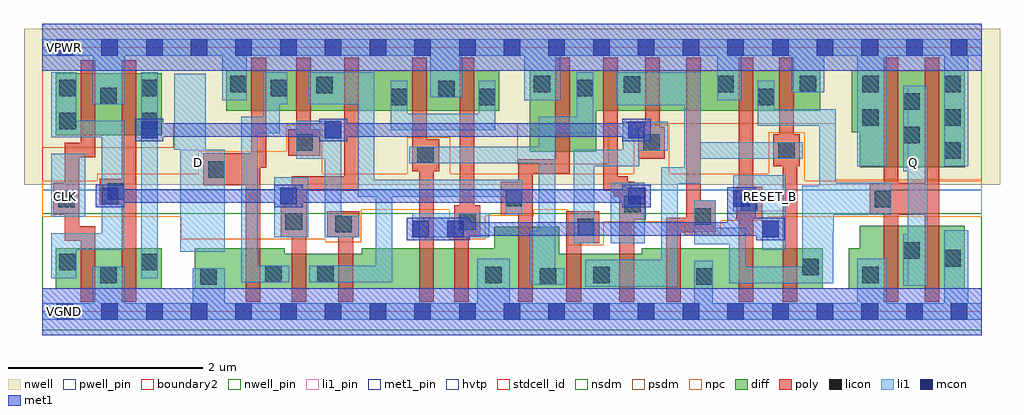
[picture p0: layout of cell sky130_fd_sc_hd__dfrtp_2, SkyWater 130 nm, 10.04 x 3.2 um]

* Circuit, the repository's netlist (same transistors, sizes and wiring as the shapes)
* Copyright 2020 The SkyWater PDK Authors
*
* Licensed under the Apache License, Version 2.0 (the "License");
* you may not use this file except in compliance with the License.
* You may obtain a copy of the License at
*
*     https://www.apache.org/licenses/LICENSE-2.0
*
* Unless required by applicable law or agreed to in writing, software
* distributed under the License is distributed on an "AS IS" BASIS,
* WITHOUT WARRANTIES OR CONDITIONS OF ANY KIND, either express or implied.
* See the License for the specific language governing permissions and
* limitations under the License.
*
* SPDX-License-Identifier: Apache-2.0


.subckt sky130_fd_sc_hd__dfrtp_2 CLK D RESET_B VGND VNB VPB VPWR Q
X0 a_1270_413# a_1283_21# VPWR VPB sky130_fd_pr__pfet_01v8_hvt w=420000u l=150000u
X1 Q a_1283_21# VGND VNB sky130_fd_pr__nfet_01v8 w=650000u l=150000u
X2 VPWR a_543_47# a_761_289# VPB sky130_fd_pr__pfet_01v8_hvt w=840000u l=150000u
X3 VGND a_543_47# a_761_289# VNB sky130_fd_pr__nfet_01v8 w=640000u l=150000u
X4 VGND D a_448_47# VNB sky130_fd_pr__nfet_01v8 w=420000u l=150000u
X5 a_1108_47# a_193_47# a_1270_413# VPB sky130_fd_pr__pfet_01v8_hvt w=420000u l=150000u
X6 VGND a_1283_21# Q VNB sky130_fd_pr__nfet_01v8 w=650000u l=150000u
X7 a_1217_47# a_1283_21# VGND VNB sky130_fd_pr__nfet_01v8 w=420000u l=150000u
X8 a_448_47# a_27_47# a_543_47# VNB sky130_fd_pr__nfet_01v8 w=360000u l=150000u
X9 a_448_47# a_193_47# a_543_47# VPB sky130_fd_pr__pfet_01v8_hvt w=420000u l=150000u
X10 a_543_47# a_193_47# a_639_47# VNB sky130_fd_pr__nfet_01v8 w=360000u l=150000u
X11 a_1108_47# a_27_47# a_1217_47# VNB sky130_fd_pr__nfet_01v8 w=360000u l=150000u
X12 a_1462_47# a_1108_47# a_1283_21# VNB sky130_fd_pr__nfet_01v8 w=420000u l=150000u
X13 a_543_47# a_27_47# a_651_413# VPB sky130_fd_pr__pfet_01v8_hvt w=420000u l=150000u
X14 a_805_47# RESET_B VGND VNB sky130_fd_pr__nfet_01v8 w=420000u l=150000u
X15 Q a_1283_21# VPWR VPB sky130_fd_pr__pfet_01v8_hvt w=1 l=150000u
X16 a_761_289# a_193_47# a_1108_47# VNB sky130_fd_pr__nfet_01v8 w=360000u l=150000u
X17 VPWR RESET_B a_651_413# VPB sky130_fd_pr__pfet_01v8_hvt w=420000u l=150000u
X18 VGND a_27_47# a_193_47# VNB sky130_fd_pr__nfet_01v8 w=420000u l=150000u
X19 a_27_47# CLK VGND VNB sky130_fd_pr__nfet_01v8 w=420000u l=150000u
X20 a_27_47# CLK VPWR VPB sky130_fd_pr__pfet_01v8_hvt w=640000u l=150000u
X21 VPWR a_1283_21# Q VPB sky130_fd_pr__pfet_01v8_hvt w=1 l=150000u
X22 VPWR a_27_47# a_193_47# VPB sky130_fd_pr__pfet_01v8_hvt w=640000u l=150000u
X23 a_1283_21# a_1108_47# VPWR VPB sky130_fd_pr__pfet_01v8_hvt w=420000u l=150000u
X24 VGND RESET_B a_1462_47# VNB sky130_fd_pr__nfet_01v8 w=420000u l=150000u
X25 VPWR D a_448_47# VPB sky130_fd_pr__pfet_01v8_hvt w=420000u l=150000u
X26 a_651_413# a_761_289# VPWR VPB sky130_fd_pr__pfet_01v8_hvt w=420000u l=150000u
X27 a_761_289# a_27_47# a_1108_47# VPB sky130_fd_pr__pfet_01v8_hvt w=420000u l=150000u
X28 VPWR RESET_B a_1283_21# VPB sky130_fd_pr__pfet_01v8_hvt w=420000u l=150000u
X29 a_639_47# a_761_289# a_805_47# VNB sky130_fd_pr__nfet_01v8 w=420000u l=150000u
.ends

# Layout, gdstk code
import gdstk
lib = gdstk.Library(unit=1e-6, precision=1e-09)
def R(c, l, rs):  # rectangles x0, y0, x1, y1
    for r in rs: c.add(gdstk.rectangle(r[:2], r[2:], *l))
def A(c, l, x, y, w, h, nx, ny, dx, dy):  # array of equal rectangles
    R(c, l, [(x+i*dx, y+j*dy, x+i*dx+w, y+j*dy+h) for i in range(nx) for j in range(ny)])
def P(c, l, *ps):  # polygons
    for p in ps: c.add(gdstk.Polygon(p, *l))
nwell_pin = (64, 16)
nwell = (64, 20)
diff = (65, 20)
poly = (66, 20)
licon = (66, 44)
li1_pin = (67, 16)
li1 = (67, 20)
mcon = (67, 44)
met1_pin = (68, 16)
met1 = (68, 20)
hvtp = (78, 44)
stdcell_id = (81, 4)
nsdm = (93, 44)
psdm = (94, 20)
npc = (95, 20)
pwell_pin = (122, 16)
boundary2 = (236, 0)

sky130_fd_sc_hd__dfrtp_2 = lib.new_cell('sky130_fd_sc_hd__dfrtp_2')
R(sky130_fd_sc_hd__dfrtp_2, nwell_pin, [(0.145,2.635,0.315,2.805)])
R(sky130_fd_sc_hd__dfrtp_2, nwell, [(-0.19,1.305,9.85,2.91)])
R(sky130_fd_sc_hd__dfrtp_2, diff, [(0.135,0.235,1.225,0.655), (0.135,1.815,1.225,2.455), (3.305,2.065,4.7,2.485)])
P(sky130_fd_sc_hd__dfrtp_2, diff, [(5.015,1.645),(5.015,2.485),(8,2.485),(8,2.065),(5.695,2.065),(5.695,1.645)],
  [(8.405,1.485),(8.405,1.845),(8.325,1.845),(8.325,2.485),(9.485,2.485),(9.485,1.485)],
  [(8.295,0.235),(8.295,0.655),(8.405,0.655),(8.405,0.885),(9.485,0.885),(9.485,0.235)],
  [(1.565,0.235),(1.565,0.655),(2.49,0.655),(2.49,0.595),(3.285,0.595),(3.285,0.655),(4.645,0.655),(4.645,0.875),(5.315,0.875),(5.315,0.595),(6.165,0.595),(6.165,0.655),(8.025,0.655),(8.025,0.235)],
  [(1.89,2.065),(1.89,2.485),(3.335,2.485),(3.335,2.48),(3.33,2.48),(3.33,2.065)])
R(sky130_fd_sc_hd__dfrtp_2, poly, [(3.875,0.105,4.025,1.515), (4.29,1.055,4.44,2.615), (3.805,1.445,4.08,1.775), (3.805,1.76,3.955,2.615)])
P(sky130_fd_sc_hd__dfrtp_2, poly, [(7.615,0.105),(7.615,1.495),(7.52,1.495),(7.52,1.825),(7.58,1.825),(7.58,2.615),(7.73,2.615),(7.73,1.825),(7.79,1.825),(7.79,1.495),(7.765,1.495),(7.765,0.105)],
  [(0.395,0.105),(0.395,0.73),(0.23,0.73),(0.23,0.995),(0.11,0.995),(0.11,1.325),(0.23,1.325),(0.23,1.74),(0.395,1.74),(0.395,2.585),(0.545,2.585),(0.545,1.59),(0.38,1.59),(0.38,0.88),(0.545,0.88),(0.545,0.105)],
  [(0.815,0.105),(0.815,1.1),(0.59,1.1),(0.59,1.37),(0.815,1.37),(0.815,2.585),(0.965,2.585),(0.965,0.105)],
  [(2.09,0.105),(2.09,1.3),(1.655,1.3),(1.655,1.63),(2.15,1.63),(2.15,2.615),(2.3,2.615),(2.3,1.48),(2.24,1.48),(2.24,0.105)],
  [(2.565,0.105),(2.565,0.765),(2.45,0.765),(2.45,1.095),(2.565,1.095),(2.565,1.395),(3.105,1.395),(3.105,2.615),(3.255,2.615),(3.255,1.245),(2.72,1.245),(2.72,0.765),(2.715,0.765),(2.715,0.105)],
  [(2.53,1.605),(2.53,1.875),(2.61,1.875),(2.61,2.615),(2.76,2.615),(2.76,1.875),(2.86,1.875),(2.86,1.605)],
  [(3.045,0.105),(3.045,0.765),(2.93,0.765),(2.93,1.035),(3.26,1.035),(3.26,0.765),(3.195,0.765),(3.195,0.105)],
  [(4.235,0.105),(4.235,1.095),(4.505,1.095),(4.505,0.765),(4.385,0.765),(4.385,0.105)],
  [(4.895,0.105),(4.895,1.005),(4.715,1.005),(4.715,1.335),(4.895,1.335),(4.895,1.57),(5.275,1.57),(5.275,2.615),(5.425,2.615),(5.425,1.42),(5.045,1.42),(5.045,0.105)],
  [(5.39,0.105),(5.39,1.035),(5.725,1.035),(5.725,0.705),(5.54,0.705),(5.54,0.105)],
  [(5.935,0.105),(5.935,1.185),(5.875,1.185),(5.875,1.245),(5.77,1.245),(5.77,2.615),(5.92,2.615),(5.92,1.395),(6.02,1.395),(6.02,1.335),(6.085,1.335),(6.085,1.275),(6.205,1.275),(6.205,0.945),(6.085,0.945),(6.085,0.105)],
  [(6.13,1.575),(6.13,1.905),(6.2,1.905),(6.2,2.615),(6.35,2.615),(6.35,1.905),(6.4,1.905),(6.4,1.575)],
  [(6.415,0.105),(6.415,0.965),(6.62,0.965),(6.62,2.615),(6.77,2.615),(6.77,1.145),(6.925,1.145),(6.925,0.815),(6.565,0.815),(6.565,0.105)],
  [(7.16,0.105),(7.16,0.955),(7.135,0.955),(7.135,1.285),(7.16,1.285),(7.16,2.615),(7.31,2.615),(7.31,1.285),(7.405,1.285),(7.405,0.955),(7.31,0.955),(7.31,0.105)],
  [(8.655,0.105),(8.655,0.995),(8.51,0.995),(8.51,1.325),(8.655,1.325),(8.655,2.615),(8.805,2.615),(8.805,1.325),(9.075,1.325),(9.075,2.615),(9.225,2.615),(9.225,0.105),(9.075,0.105),(9.075,0.995),(8.805,0.995),(8.805,0.105)])
A(sky130_fd_sc_hd__dfrtp_2, licon, 9.275, 1.575, 0.17, 0.17, 1, 3, 0, 0.34)
R(sky130_fd_sc_hd__dfrtp_2, licon, [(1.625,0.275,1.795,0.445), (5.115,0.275,5.285,0.445), (6.725,0.275,6.895,0.445), (0.595,0.295,0.765,0.465), (4.555,0.295,4.725,0.465), (5.665,0.295,5.835,0.465), (8.435,0.295,8.605,0.465), (2.29,0.305,2.46,0.475), (2.825,0.305,2.995,0.475), (7.815,0.375,7.985,0.545), (0.175,0.425,0.345,0.595), (1.015,0.425,1.185,0.595), (9.275,0.465,9.445,0.635), (8.855,0.545,9.025,0.715), (5.505,0.785,5.675,0.955), (3.01,0.815,3.18,0.985), (2.5,0.845,2.67,1.015), (4.285,0.845,4.455,1.015), (6.705,0.895,6.875,1.065), (5.985,1.025,6.155,1.195), (7.185,1.035,7.355,1.205), (0.16,1.075,0.33,1.245), (8.56,1.075,8.73,1.245), (4.765,1.085,4.935,1.255), (0.67,1.15,0.84,1.32), (1.705,1.38,1.875,1.55), (3.855,1.525,4.025,1.695), (7.57,1.575,7.74,1.745), (2.61,1.655,2.78,1.825), (6.18,1.655,6.35,1.825), (8.855,1.735,9.025,1.905), (0.175,1.875,0.345,2.045), (1.015,1.875,1.185,2.045), (8.435,1.915,8.605,2.085), (8.855,2.075,9.025,2.245), (3.585,2.125,3.755,2.295), (4.49,2.125,4.66,2.295), (7.36,2.125,7.53,2.295), (0.595,2.135,0.765,2.305), (4.07,2.205,4.24,2.375), (0.175,2.215,0.345,2.385), (1.015,2.215,1.185,2.385), (2.35,2.215,2.52,2.385), (5.495,2.215,5.665,2.385), (2.815,2.245,2.985,2.415), (5.98,2.25,6.15,2.42), (1.93,2.255,2.1,2.425), (5.055,2.255,5.225,2.425), (6.94,2.255,7.11,2.425), (7.79,2.255,7.96,2.425), (8.435,2.255,8.605,2.425)])
R(sky130_fd_sc_hd__dfrtp_2, li1_pin, [(8.9,0.265,9.105,2.325), (1.415,0.615,1.875,1.665), (0.09,0.975,0.44,1.625), (7.105,1.035,7.645,1.405)])
R(sky130_fd_sc_hd__dfrtp_2, li1, [(0,-0.085,9.2,0.085), (0,-0.085,9.66,0.085), (1.545,-0.03,1.875,0.445), (8.38,0.05,8.685,0.545), (9.275,0.05,9.525,0.84), (4.475,0.055,4.805,0.545), (0.515,0.06,0.845,0.465), (6.705,0.065,6.895,0.525), (1.015,0.345,1.185,2.465), (1.415,0.615,1.875,1.665), (5.845,0.705,6.195,1.325), (2.385,0.765,2.735,1.385), (3.805,0.765,4.595,1.015), (0.09,0.975,0.44,1.625), (8.38,1.495,8.685,2.71), (9.275,1.495,9.525,2.71), (3.775,1.525,5.13,1.695), (1.355,1.665,1.68,2.45), (0.515,2.135,0.845,2.665), (4.955,2.175,5.325,2.675), (6.94,2.175,7.19,2.69), (3.99,2.205,4.32,2.69), (7.71,2.255,8.04,2.7), (0,2.635,9.66,2.805)])
P(sky130_fd_sc_hd__dfrtp_2, li1, [(0.09,0.345),(0.09,0.805),(0.61,0.805),(0.61,1.795),(0.09,1.795),(0.09,2.465),(0.345,2.465),(0.345,1.965),(0.84,1.965),(0.84,0.635),(0.345,0.635),(0.345,0.345)],
  [(2.045,0.305),(2.045,2.005),(2.27,2.005),(2.27,2.465),(2.52,2.465),(2.52,2.135),(2.44,2.135),(2.44,1.835),(2.215,1.835),(2.215,0.475),(2.54,0.475),(2.54,0.305)],
  [(2.905,0.765),(2.905,1.575),(2.61,1.575),(2.61,1.965),(3.075,1.965),(3.075,0.985),(3.26,0.985),(3.26,0.765)],
  [(2.745,0.305),(2.745,0.475),(3.43,0.475),(3.43,1.185),(3.245,1.185),(3.245,2.135),(2.735,2.135),(2.735,2.465),(3.415,2.465),(3.415,1.355),(4.935,1.355),(4.935,1.005),(4.765,1.005),(4.765,1.185),(3.6,1.185),(3.6,0.305)],
  [(8.855,0.265),(8.855,0.795),(8.9,0.795),(8.9,1.445),(8.855,1.445),(8.855,2.325),(9.105,2.325),(9.105,0.265)],
  [(5.015,0.275),(5.015,0.835),(5.105,0.835),(5.105,2.005),(5.495,2.005),(5.495,2.465),(5.665,2.465),(5.665,1.835),(5.275,1.835),(5.275,0.445),(5.365,0.445),(5.365,0.275)],
  [(5.465,0.705),(5.465,1.665),(5.97,1.665),(5.97,1.955),(6.43,1.955),(6.43,1.655),(6.14,1.655),(6.14,1.495),(5.675,1.495),(5.675,0.705)],
  [(7.405,0.635),(7.405,1.035),(7.105,1.035),(7.105,1.405),(7.645,1.405),(7.645,0.635)],
  [(5.585,0.255),(5.585,0.535),(6.365,0.535),(6.365,1.485),(6.6,1.485),(6.6,2.125),(5.9,2.125),(5.9,2.465),(6.77,2.465),(6.77,1.745),(7.82,1.745),(7.82,1.575),(6.77,1.575),(6.77,1.315),(6.535,1.315),(6.535,0.255)],
  [(1.85,2.175),(1.85,2.635),(0,2.635),(0,2.805),(9.2,2.805),(9.2,2.635),(2.1,2.635),(2.1,2.175)],
  [(7.065,0.295),(7.065,0.695),(6.705,0.695),(6.705,1.145),(6.925,1.145),(6.925,0.865),(7.235,0.865),(7.235,0.465),(7.815,0.465),(7.815,1.295),(7.99,1.295),(7.99,1.915),(7.36,1.915),(7.36,2.375),(7.53,2.375),(7.53,2.085),(8.16,2.085),(8.16,1.325),(8.73,1.325),(8.73,0.995),(8.14,0.995),(8.14,0.82),(8.135,0.82),(8.135,0.295)],
  [(3.585,1.865),(3.585,2.375),(3.755,2.375),(3.755,2.035),(4.49,2.035),(4.49,2.375),(4.66,2.375),(4.66,1.865)])
A(sky130_fd_sc_hd__dfrtp_2, mcon, 0.145, -0.085, 0.17, 0.17, 21, 2, 0.46, 2.72)
R(sky130_fd_sc_hd__dfrtp_2, mcon, [(3.805,0.765,3.975,0.935), (4.165,0.765,4.335,0.935), (7.405,0.765,7.575,0.935), (7.105,1.08,7.275,1.25), (0.61,1.105,0.78,1.275), (2.445,1.105,2.615,1.275), (6.025,1.105,6.195,1.275), (1.015,1.785,1.185,1.955), (2.905,1.785,3.075,1.955), (6.025,1.785,6.195,1.955)])
R(sky130_fd_sc_hd__dfrtp_2, met1_pin, [(0,-0.24,9.66,0.24), (0,2.48,9.66,2.96)])
R(sky130_fd_sc_hd__dfrtp_2, met1, [(0,-0.24,9.66,0.24), (7.045,0.91,7.335,1.28), (0.55,1.075,0.84,1.305), (5.965,1.075,6.255,1.305), (0.955,1.755,1.245,1.985), (5.965,1.755,6.255,1.985), (0,2.48,9.66,2.96)])
P(sky130_fd_sc_hd__dfrtp_2, met1, [(3.745,0.735),(3.745,0.965),(4.395,0.965),(4.395,0.92),(7.335,0.92),(7.335,0.965),(7.635,0.965),(7.635,0.735),(7.345,0.735),(7.345,0.78),(4.395,0.78),(4.395,0.735)],
  [(2.845,1.755),(2.845,1.8),(1.185,1.8),(1.185,1.94),(2.845,1.94),(2.845,1.985),(3.135,1.985),(3.135,1.94),(6.075,1.94),(6.075,1.8),(3.135,1.8),(3.135,1.755)],
  [(2.385,1.075),(2.385,1.12),(0.82,1.12),(0.82,1.26),(2.385,1.26),(2.385,1.305),(2.675,1.305),(2.675,1.26),(6.045,1.26),(6.045,1.12),(2.675,1.12),(2.675,1.075)])
R(sky130_fd_sc_hd__dfrtp_2, hvtp, [(0,1.25,9.2,2.72), (9.2,1.25,9.66,2.72)])
R(sky130_fd_sc_hd__dfrtp_2, stdcell_id, [(0,0,9.66,2.72)])
R(sky130_fd_sc_hd__dfrtp_2, nsdm, [(0,-0.19,9.66,1.015)])
P(sky130_fd_sc_hd__dfrtp_2, psdm, [(8.155,1.355),(8.155,1.935),(5.825,1.935),(5.825,1.515),(4.885,1.515),(4.885,1.935),(1.35,1.935),(1.35,1.685),(0,1.685),(0,2.91),(9.66,2.91),(9.66,1.355)])
R(sky130_fd_sc_hd__dfrtp_2, npc, [(3.755,1.365,4.195,1.795)])
P(sky130_fd_sc_hd__dfrtp_2, npc, [(5.405,0.685),(5.405,1.05),(5.055,1.05),(5.055,0.985),(4.555,0.985),(4.555,0.745),(4.185,0.745),(4.185,1.05),(3.28,1.05),(3.28,0.715),(2.91,0.715),(2.91,0.745),(1.425,0.745),(1.425,0.975),(0,0.975),(0,1.345),(0.565,1.345),(0.565,1.42),(1.6,1.42),(1.6,1.65),(2.51,1.65),(2.51,1.925),(2.88,1.925),(2.88,1.42),(6.08,1.42),(6.08,1.925),(6.45,1.925),(6.45,1.42),(7.47,1.42),(7.47,1.845),(7.84,1.845),(7.84,1.345),(9.66,1.345),(9.66,0.975),(7.455,0.975),(7.455,0.935),(6.975,0.935),(6.975,0.795),(6.605,0.795),(6.605,0.925),(5.775,0.925),(5.775,0.685)])
R(sky130_fd_sc_hd__dfrtp_2, pwell_pin, [(0.145,-0.085,0.315,0.085)])
R(sky130_fd_sc_hd__dfrtp_2, boundary2, [(0,0,9.66,2.72)])
sky130_fd_sc_hd__dfrtp_2.add(gdstk.Label('Q', (8.965,1.53), layer=67, texttype=5))
sky130_fd_sc_hd__dfrtp_2.add(gdstk.Label('D', (1.61,1.53), layer=67, texttype=5))
sky130_fd_sc_hd__dfrtp_2.add(gdstk.Label('CLK', (0.235,1.19), layer=67, texttype=5))
sky130_fd_sc_hd__dfrtp_2.add(gdstk.Label('RESET_B', (7.49,1.19), layer=67, texttype=5))
sky130_fd_sc_hd__dfrtp_2.add(gdstk.Label('VGND', (0.23,0), layer=68, texttype=5))
sky130_fd_sc_hd__dfrtp_2.add(gdstk.Label('VPWR', (0.23,2.72), layer=68, texttype=5))
sky130_fd_sc_hd__dfrtp_2.add(gdstk.Label('VPB', (0.23,2.72), layer=64, texttype=5))
sky130_fd_sc_hd__dfrtp_2.add(gdstk.Label('VNB', (0.23,0), layer=64, texttype=59))
sky130_fd_sc_hd__dfrtp_2.add(gdstk.Label('dfrtp_2', (0,0), layer=83, texttype=44))

lib.write_gds('sky130_fd_sc_hd__dfrtp_2.gds')
